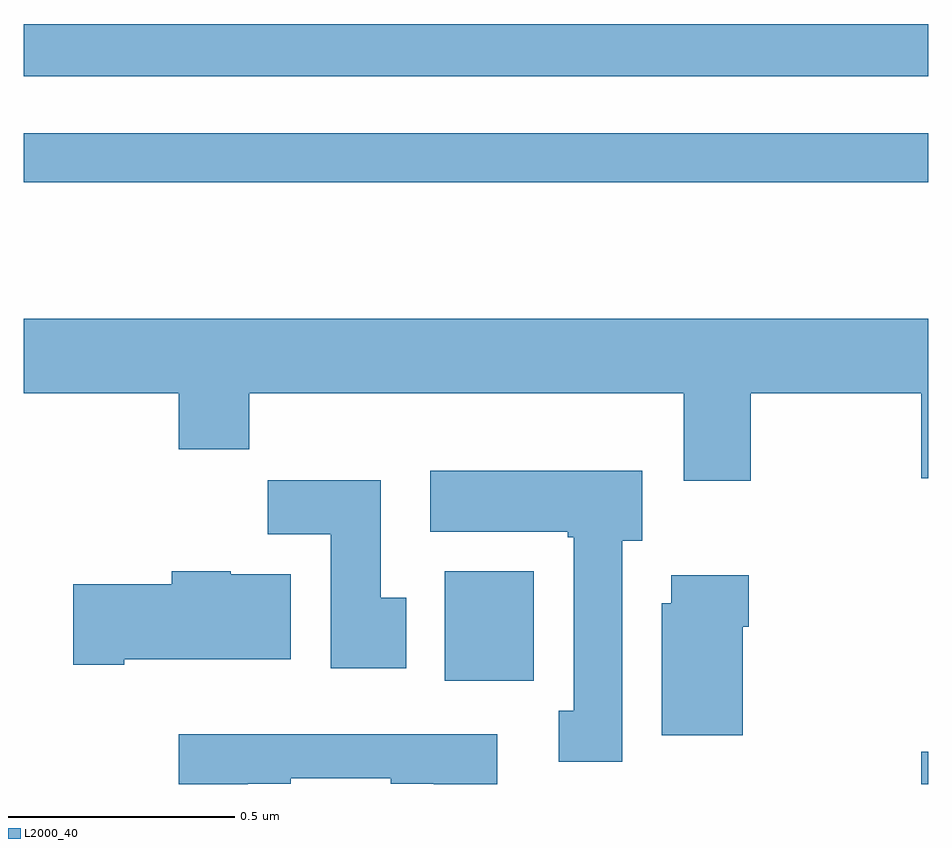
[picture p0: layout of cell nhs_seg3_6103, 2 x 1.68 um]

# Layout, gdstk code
import gdstk
lib = gdstk.Library(unit=1e-6, precision=1e-09)
def R(c, l, rs):  # rectangles x0, y0, x1, y1
    for r in rs: c.add(gdstk.rectangle(r[:2], r[2:], *l))
def P(c, l, *ps):  # polygons
    for p in ps: c.add(gdstk.Polygon(p, *l))
L2000_40 = (2000, 40)

nhs_seg3_6103 = lib.new_cell('nhs_seg3_6103')
R(nhs_seg3_6103, L2000_40, [(188.984,685.4,189,685.471), (187.931,685.628,188.128,685.87), (187,686.73,189,686.838), (187,686.964,189,687.08)])
P(nhs_seg3_6103, L2000_40, [(187,686.264),(187.343,686.264),(187.343,686.14),(187.499,686.14),(187.499,686.264),(188.459,686.264),(188.459,686.07),(188.607,686.07),(188.607,686.264),(188.984,686.264),(188.984,686.076),(189,686.076),(189,686.428),(187,686.428)],
  [(188.323,685.938),(188.368,685.938),(188.368,686.092),(187.899,686.092),(187.899,685.958),(188.203,685.958),(188.203,685.945),(188.216,685.945),(188.216,685.562),(188.183,685.562),(188.183,685.449),(188.323,685.449)],
  [(187.846,685.812),(187.789,685.812),(187.789,686.071),(187.54,686.071),(187.54,685.952),(187.679,685.952),(187.679,685.656),(187.846,685.656)],
  [(187.222,685.676),(187.591,685.676),(187.591,685.864),(187.458,685.864),(187.458,685.87),(187.328,685.87),(187.328,685.842),(187.11,685.842),(187.11,685.664),(187.222,685.664)],
  [(188.59,685.748),(188.603,685.748),(188.603,685.861),(188.432,685.861),(188.432,685.8),(188.411,685.8),(188.411,685.508),(188.59,685.508)],
  [(187.495,685.401),(187.591,685.401),(187.591,685.413),(187.811,685.413),(187.811,685.401),(187.907,685.401),(187.907,685.4),(188.047,685.4),(188.047,685.51),(187.343,685.51),(187.343,685.4),(187.495,685.4)])

lib.write_gds('nhs_seg3_6103.gds')
